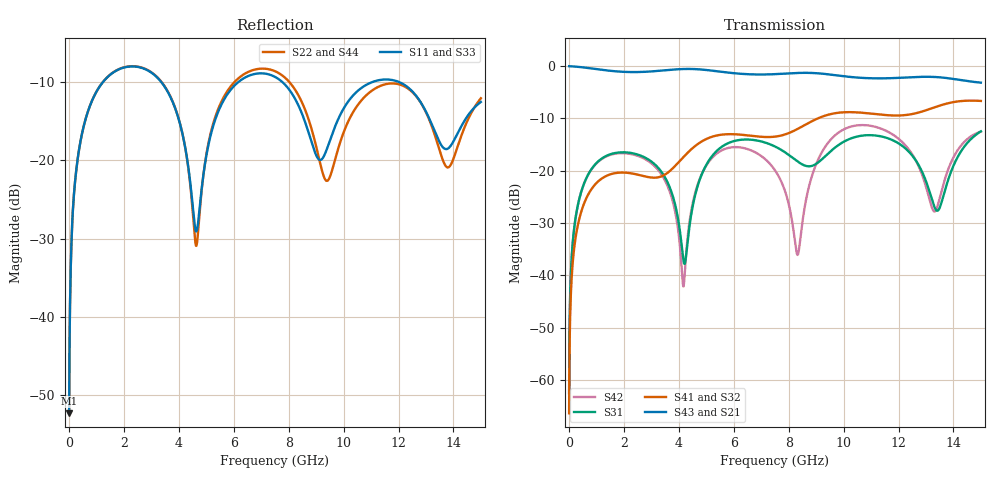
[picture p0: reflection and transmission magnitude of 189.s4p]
! Created with skrf 1.8.0 (http://scikit-rf.org).
# GHz S RI R 50.0
!freq ReS11 ImS11 ReS12 ImS12 ReS13 ImS13
! ReS14 ImS14
! ReS21 ImS21 ReS22 ImS22 ReS23 ImS23
! ReS24 ImS24
! ReS31 ImS31 ReS32 ImS32 ReS33 ImS33
! ReS34 ImS34
! ReS41 ImS41 ReS42 ImS42 ReS43 ImS43
! ReS44 ImS44
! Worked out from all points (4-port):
!   2499 points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, 5 MHz to 15 GHz, reference 50 ohm
!   strongest paths, dB at 5 MHz, 3.476 GHz, 7.19 GHz, 11.1 GHz, 15 GHz:
!     S43: 0.0, -0.8, -1.6, -2.3, -3.2
!     S21: 0.0, -0.8, -1.6, -2.3, -3.2
!     S41: -66.4, -20.8, -13.6, -9.1, -6.7
!     S32: -66.4, -20.8, -13.6, -9.2, -6.7
!     S31: -62.5, -21.1, -14.7, -13.2, -12.5
!     S42: -62.5, -21.7, -18.0, -11.5, -12.5
!   lowest |S11| = -52.3 dB at 5 MHz (marker M1), VSWR 1.00, Z = 50.2 + j0.148 ohm
!   |S11| at or under -10 dB: 3.349 GHz to 6.186 GHz (2.837 GHz wide, 59.5 % of centre); 7.752 GHz to 11.09 GHz (3.335 GHz wide, 35.4 % of centre); 11.98 GHz to end of sweep (the widest 3 of 4)
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0.005  0.00194 0.00148  0.998 -0.00377  9.73e-05 0.00074  -9.46e-05 -0.000469
       0.998 -0.00377  0.00194 0.00148  -9.46e-05 -0.000469  9.72e-05 0.00074
       9.73e-05 0.00074  -9.46e-05 -0.000469  0.00194 0.00148  0.998 -0.00377
       -9.46e-05 -0.000469  9.72e-05 0.00074  0.998 -0.00377  0.00194 0.00148
0.3126303  0.0318 0.0954  0.9564 -0.2327  0.0147 0.0429  -0.0121 -0.0266
           0.9564 -0.2327  0.0319 0.0954  -0.0121 -0.0266  0.0142 0.043
           0.0147 0.0429  -0.0121 -0.0266  0.0318 0.0954  0.9564 -0.2327
           -0.0121 -0.0266  0.0142 0.043  0.9564 -0.2327  0.0319 0.0954
1.3193  0.2728 0.1795  0.5449 -0.7319  0.1254 0.0545  -0.0878 -0.00583
        0.5449 -0.7319  0.2744 0.1784  -0.0877 -0.0059  0.1208 0.0608
        0.1254 0.0545  -0.0877 -0.0059  0.2728 0.1795  0.545 -0.7318
        -0.0878 -0.00583  0.1208 0.0608  0.545 -0.7318  0.2743 0.1784
4.164235  0.0726 -0.1181  -0.8635 -0.3652  -0.0121 -0.00736  -0.048 0.1258
          -0.8635 -0.3652  0.0661 -0.122  -0.0488 0.1254  -0.00738 -0.00255
          -0.0121 -0.00736  -0.0488 0.1254  0.0723 -0.118  -0.8635 -0.3654
          -0.048 0.1258  -0.00738 -0.00255  -0.8635 -0.3654  0.0662 -0.1217
9.297624  0.1048 0.0226  0.8351 0.1091  -0.0667 0.1172  0.0346 -0.3321
          0.8351 0.1091  0.0706 -0.0313  0.0383 -0.3308  0.0564 0.1541
          -0.0667 0.1172  0.0383 -0.3308  0.1067 0.0286  0.8352 0.1084
          0.0346 -0.3321  0.0564 0.1541  0.8352 0.1084  0.0667 -0.027
12.16757  0.2915 -0.0905  -0.0824 -0.7717  0.1205 -0.1202  -0.3232 0.1008
          -0.0824 -0.7717  0.287 -0.0792  -0.3234 0.0926  0.1317 -0.1287
          0.1205 -0.1202  -0.3234 0.0926  0.2952 -0.0954  -0.0797 -0.7711
          -0.3232 0.1008  0.1317 -0.1287  -0.0797 -0.7711  0.289 -0.0725
15  0.2292 0.05  -0.6265 0.2988  0.2233 0.0816  0.2717 0.3765
    -0.6265 0.2988  0.2247 0.1046  0.2628 0.3806  0.1849 0.147
    0.2233 0.0816  0.2628 0.3806  0.2326 0.0512  -0.6285 0.2952
    0.2717 0.3765  0.1849 0.147  -0.6285 0.2952  0.2207 0.1043
